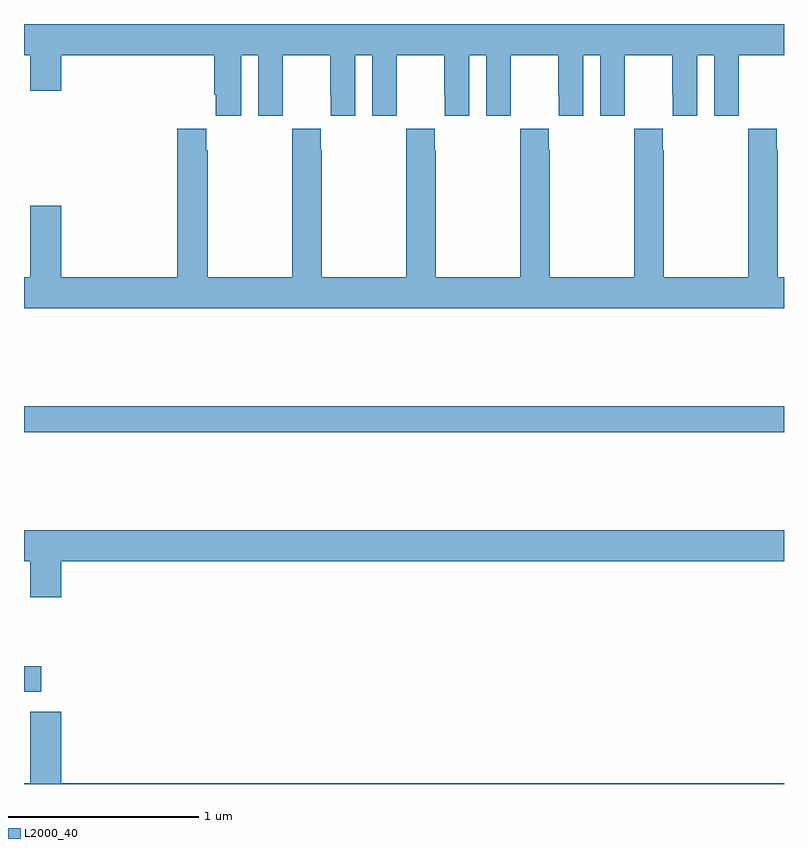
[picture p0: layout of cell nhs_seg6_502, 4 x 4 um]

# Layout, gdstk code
import gdstk
lib = gdstk.Library(unit=1e-6, precision=1e-09)
def R(c, l, rs):  # rectangles x0, y0, x1, y1
    for r in rs: c.add(gdstk.rectangle(r[:2], r[2:], *l))
def P(c, l, *ps):  # polygons
    for p in ps: c.add(gdstk.Polygon(p, *l))
L2000_40 = (2000, 40)

nhs_seg6_502 = lib.new_cell('nhs_seg6_502')
R(nhs_seg6_502, L2000_40, [(141,943.985,141.091,944.12), (141,945.352,145,945.488)])
P(nhs_seg6_502, L2000_40, [(142.144,947.336),(142.232,947.336),(142.232,947.016),(142.362,947.016),(142.362,947.128),(142.363,947.128),(142.363,947.336),(142.613,947.336),(142.613,947.128),(142.614,947.128),(142.614,947.016),(142.744,947.016),(142.744,947.336),(142.832,947.336),(142.832,947.016),(142.962,947.016),(142.962,947.128),(142.963,947.128),(142.963,947.336),(143.213,947.336),(143.213,947.128),(143.214,947.128),(143.214,947.016),(143.344,947.016),(143.344,947.336),(143.432,947.336),(143.432,947.016),(143.562,947.016),(143.562,947.128),(143.563,947.128),(143.563,947.336),(143.813,947.336),(143.813,947.128),(143.814,947.128),(143.814,947.016),(143.944,947.016),(143.944,947.336),(144.032,947.336),(144.032,947.016),(144.162,947.016),(144.162,947.128),(144.163,947.128),(144.163,947.336),(144.413,947.336),(144.413,947.128),(144.414,947.128),(144.414,947.016),(144.544,947.016),(144.544,947.336),(144.632,947.336),(144.632,947.016),(144.762,947.016),(144.762,947.128),(144.763,947.128),(144.763,947.336),(145,947.336),(145,947.5),(141,947.5),(141,947.336),(141.032,947.336),(141.032,947.148),(141.196,947.148),(141.196,947.336),(142.001,947.336),(142.001,947.128),(142.01,947.128),(142.01,947.016),(142.144,947.016)],
  [(145,946.168),(144.966,946.168),(144.966,946.835),(144.963,946.835),(144.963,946.948),(144.813,946.948),(144.813,946.835),(144.811,946.835),(144.811,946.168),(144.366,946.168),(144.366,946.835),(144.363,946.835),(144.363,946.948),(144.213,946.948),(144.213,946.835),(144.211,946.835),(144.211,946.168),(143.766,946.168),(143.766,946.835),(143.763,946.835),(143.763,946.948),(143.613,946.948),(143.613,946.835),(143.611,946.835),(143.611,946.168),(143.166,946.168),(143.166,946.835),(143.163,946.835),(143.163,946.948),(143.013,946.948),(143.013,946.835),(143.011,946.835),(143.011,946.168),(142.566,946.168),(142.566,946.835),(142.563,946.835),(142.563,946.948),(142.413,946.948),(142.413,946.835),(142.411,946.835),(142.411,946.168),(141.966,946.168),(141.966,946.835),(141.959,946.835),(141.959,946.948),(141.806,946.948),(141.806,946.168),(141.196,946.168),(141.196,946.543),(141.032,946.543),(141.032,946.168),(141,946.168),(141,946.004),(145,946.004)],
  [(141.196,944.672),(145,944.672),(145,944.836),(141,944.836),(141,944.672),(141.032,944.672),(141.032,944.484),(141.196,944.484)],
  [(145,943.504),(141.196,943.504),(141.196,943.879),(141.032,943.879),(141.032,943.504),(141,943.504),(141,943.5),(145,943.5)])

lib.write_gds('nhs_seg6_502.gds')
